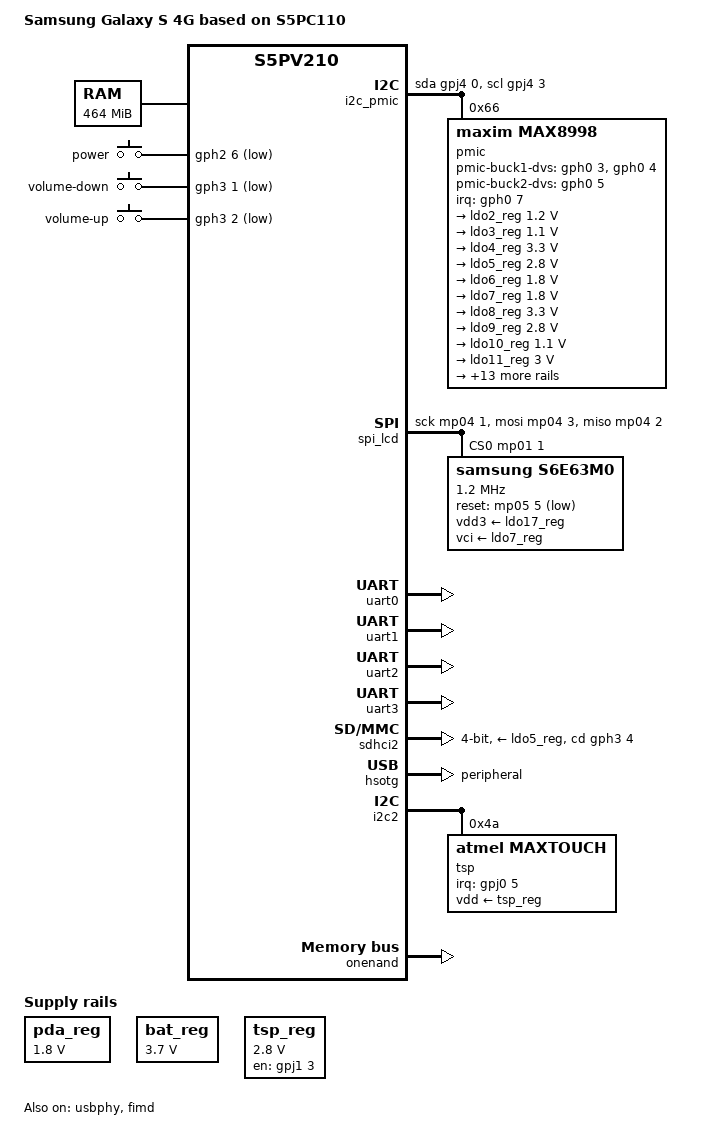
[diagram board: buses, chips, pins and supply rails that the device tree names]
// SPDX-License-Identifier: GPL-2.0
/*
 * Samsung's S5PV210 SoC device tree source
 *
 * Copyright (c) 2013-2014 Samsung Electronics, Co. Ltd.
 *
 * Mateusz Krawczuk <m.krawczuk@partner.samsung.com>
 * Tomasz Figa <t.figa@samsung.com>
 *
 * Board device tree source for Samsung Goni board.
 */

/dts-v1/;
#include <dt-bindings/input/input.h>
#include "s5pv210.dtsi"

/ {
	model = "Samsung Galaxy S 4G based on S5PC110";
	compatible = "samsung,galaxys4g", "samsung,aries", "samsung,s5pv210";

	aliases {
		i2c3 = &i2c_pmic;
	};

	chosen {
		bootargs = "console=ttySAC2,115200n8 ignore_loglevel earlyprintk androidboot.mode=charger androidboot.hardware=aries";
	};

	memory@30000000 {
		device_type = "memory";
		reg = <0x30000000 0x05000000
			0x40000000 0x10000000
			0x50000000 0x08000000>;
	};

	regulators {
		compatible = "simple-bus";
		#address-cells = <1>;
		#size-cells = <0>;

		pda_reg: fixed-regulator@1 {
			compatible = "regulator-fixed";
			regulator-name = "VCC_1.8V_PDA";
			regulator-min-microvolt = <1800000>;
			regulator-max-microvolt = <1800000>;
			reg = <1>;
		};

		bat_reg: fixed-regulator@2 {
			compatible = "regulator-fixed";
			regulator-name = "V_BAT";
			regulator-min-microvolt = <3700000>;
			regulator-max-microvolt = <3700000>;
			reg = <2>;
		};

		tsp_reg: fixed-regulator@3 {
			compatible = "regulator-fixed";
			regulator-name = "TSP_VDD";
			regulator-min-microvolt = <2800000>;
			regulator-max-microvolt = <2800000>;
			reg = <3>;
			gpio = <&gpj1 3 0>;
			enable-active-high;
		};
	};

	i2c_pmic: i2c-pmic {
		compatible = "i2c-gpio";
		gpios = <&gpj4 0 0>, /* sda */
		<&gpj4 3 0>; /* scl */
		i2c-gpio,delay-us = <2>;        /* ~100 kHz */

		#address-cells = <1>;
		#size-cells = <0>;

		pmic@66 {
			compatible = "maxim,max8998";
			reg = <0x66>;
			interrupt-parent = <&gph0>;
			interrupts = <7 0>;
			pinctrl-names = "default";

			max8998,pmic-buck1-default-dvs-idx = <0>;
			max8998,pmic-buck1-dvs-gpios = <&gph0 3 0>, <&gph0 4 0>;
			max8998,pmic-buck1-dvs-voltage = <1325000>, <1250000>,
							<1100000>, <1000000>;

			max8998,pmic-buck2-default-dvs-idx = <0>;
			max8998,pmic-buck2-dvs-gpio = <&gph0 5 0>;
			max8998,pmic-buck2-dvs-voltage = <1100000>, <1000000>;

			regulators {
				ldo2_reg: LDO2 {
					regulator-name = "VALIVE_1.2V";
					regulator-min-microvolt = <1200000>;
					regulator-max-microvolt = <1200000>;
					regulator-always-on;
				};

				ldo3_reg: LDO3 {
					regulator-name = "VUSB_1.1V";
					regulator-min-microvolt = <1100000>;
					regulator-max-microvolt = <1100000>;
				};

				ldo4_reg: LDO4 {
					regulator-name = "VADC_3.3V";
					regulator-min-microvolt = <3300000>;
					regulator-max-microvolt = <3300000>;
				};

				ldo5_reg: LDO5 {
					regulator-name = "VTF_2.8V";
					regulator-min-microvolt = <2800000>;
					regulator-max-microvolt = <2800000>;
				};

				ldo6_reg: LDO6 {
					regulator-name = "CP_RTC_1.8V";
					regulator-min-microvolt = <1800000>;
					regulator-max-microvolt = <1800000>;
				};

				ldo7_reg: LDO7 {
					regulator-name = "VLCD_1.8V";
					regulator-min-microvolt = <1800000>;
					regulator-max-microvolt = <1800000>;
					regulator-always-on;
				};

				ldo8_reg: LDO8 {
					regulator-name = "VUSB_3.3V";
					regulator-min-microvolt = <3300000>;
					regulator-max-microvolt = <3300000>;
				};

				ldo9_reg: LDO9 {
					regulator-name = "VCC_2.8V_PDA";
					regulator-min-microvolt = <2800000>;
					regulator-max-microvolt = <2800000>;
					regulator-always-on;
				};

				ldo10_reg: LDO10 {
					regulator-name = "VPLL_1.1V_6442";
					regulator-min-microvolt = <1100000>;
					regulator-max-microvolt = <1100000>;
					regulator-always-on;
				};

				ldo11_reg: LDO11 {
					regulator-name = "CAM_AF_3.0V";
					regulator-min-microvolt = <3000000>;
					regulator-max-microvolt = <3000000>;
				};

				ldo12_reg: LDO12 {
					regulator-name = "CAM_SENSOR_CORE_1.2V";
					regulator-min-microvolt = <1200000>;
					regulator-max-microvolt = <1200000>;
				};

				ldo13_reg: LDO13 {
					regulator-name = "VGA_VDDIO_2.8V";
					regulator-min-microvolt = <2800000>;
					regulator-max-microvolt = <2800000>;
				};

				ldo14_reg: LDO14 {
					regulator-name = "VGA_DVDD_1.8V";
					regulator-min-microvolt = <1800000>;
					regulator-max-microvolt = <1800000>;
				};

				ldo15_reg: LDO15 {
					regulator-name = "CAM_ISP_HOST_2.8V";
					regulator-min-microvolt = <2800000>;
					regulator-max-microvolt = <2800000>;
				};

				ldo16_reg: LDO16 {
					regulator-name = "VGA_AVDD_2.8V";
					regulator-min-microvolt = <2800000>;
					regulator-max-microvolt = <2800000>;
				};

				ldo17_reg: LDO17 {
					regulator-name = "VCC_3.0V_LCD";
					regulator-min-microvolt = <3000000>;
					regulator-max-microvolt = <3000000>;
					regulator-always-on;
				};

				buck1_reg: BUCK1 {
					regulator-name = "VDD_ARM";
					regulator-min-microvolt = <750000>;
					regulator-max-microvolt = <1500000>;
					regulator-always-on;
				};

				buck2_reg: BUCK2 {
					regulator-name = "VDD_INT";
					regulator-min-microvolt = <750000>;
					regulator-max-microvolt = <1500000>;
					regulator-always-on;
				};

				buck3_reg: BUCK3 {
					regulator-name = "VCC_1.8V";
					regulator-min-microvolt = <1800000>;
					regulator-max-microvolt = <1800000>;
					regulator-always-on;
				};

				buck4_reg: BUCK4 {
					regulator-name = "CAM_ISP_CORE_1.2V";
					regulator-min-microvolt = <1200000>;
					regulator-max-microvolt = <1200000>;
				};

				vichg_reg: ENVICHG {
					regulator-name = "VICHG";
				};

				safeout1_reg: ESAFEOUT1 {
					regulator-name = "SAFEOUT1";
					regulator-always-on;
				};

				safeout2_reg: ESAFEOUT2 {
					regulator-name = "SAFEOUT2";
					regulator-boot-on;
				};
			};
		};
	};

	gpio-keys {
		compatible = "gpio-keys";

		power-key {
			gpios = <&gph2 6 1>;
			linux,code = <KEY_POWER>;
			label = "power";
			debounce-interval = <1>;
			wakeup-source;
		};
		volume-up {
			gpios = <&gph3 1 1>;
			linux,code = <KEY_VOLUMEUP>;
			label = "volume-down";
			debounce-interval = <1>;
			wakeup-source;
		};
		volume-down {
			gpios = <&gph3 2 1>;
			linux,code = <KEY_VOLUMEDOWN>;
			label = "volume-up";
			debounce-interval = <1>;
			wakeup-source;
		};
	};

	spi_lcd: spi-1 {
		compatible = "spi-gpio";
		#address-cells = <1>;
		#size-cells = <0>;

		sck-gpios = <&mp04 1 0>;
		miso-gpios = <&mp04 2 0>;
		mosi-gpios = <&mp04 3 0>;
		cs-gpios = <&mp01 1 0>;
		num-chipselects = <1>;

		s6e63m0: display@0 {
			compatible = "samsung,s6e63m0";
			reg = <0>;
			reset-gpios = <&mp05 5 1>;
			vdd3-supply = <&ldo17_reg>;
			vci-supply = <&ldo7_reg>;
			spi-max-frequency = <1200000>;
		};
	};
};

&xusbxti {
	clock-frequency = <24000000>;
};

&uart0 {
	status = "okay";
};

&uart1 {
	status = "okay";
};

&uart2 {
	status = "okay";
};

&uart3 {
	status = "okay";
};

&sdhci2 {
	bus-width = <4>;
	cd-gpios = <&gph3 4 1>;
	vmmc-supply = <&ldo5_reg>;
	cd-inverted;
	pinctrl-0 = <&sd2_clk &sd2_cmd &sd2_bus4>;
	pinctrl-names = "default";
	status = "okay";
};

&hsotg {
	vusb_a-supply = <&ldo3_reg>;
	vusb_d-supply = <&ldo8_reg>;
	dr_mode = "peripheral";
	status = "okay";
};

&usbphy {
	status = "okay";
};

&i2c2 {
	samsung,i2c-sda-delay = <100>;
	samsung,i2c-max-bus-freq = <400000>;
	samsung,i2c-slave-addr = <0x10>;
	status = "okay";

	tsp@4a {
		compatible = "atmel,maxtouch";
		reg = <0x4a>;
		interrupt-parent = <&gpj0>;
		interrupts = <5 2>;

		atmel,x-line = <17>;
		atmel,y-line = <11>;
		atmel,x-size = <800>;
		atmel,y-size = <480>;
		atmel,burst-length = <0x21>;
		atmel,threshold = <0x28>;
		atmel,orientation = <1>;

		vdd-supply = <&tsp_reg>;
	};
};

&fimd {
	pinctrl-0 = <&lcd_clk &lcd_data24>;
	pinctrl-names = "default";
	status = "okay";

	display-timings {
		native-mode = <&timing0>;
		timing0: timing {
			/* 480x800@55Hz */
			clock-frequency = <23439570>;
			hactive = <480>;
			hfront-porch = <16>;
			hback-porch = <16>;
			hsync-len = <2>;
			vactive = <800>;
			vback-porch = <2>;
			vfront-porch = <28>;
			vsync-len = <1>;
			hsync-active = <0>;
			vsync-active = <0>;
			de-active = <0>;
			pixelclk-active = <0>;
		};
	};
};

&onenand {
	status = "okay";
};

&cpu0 {
	cpu0-supply = <&buck1_reg>;
};
